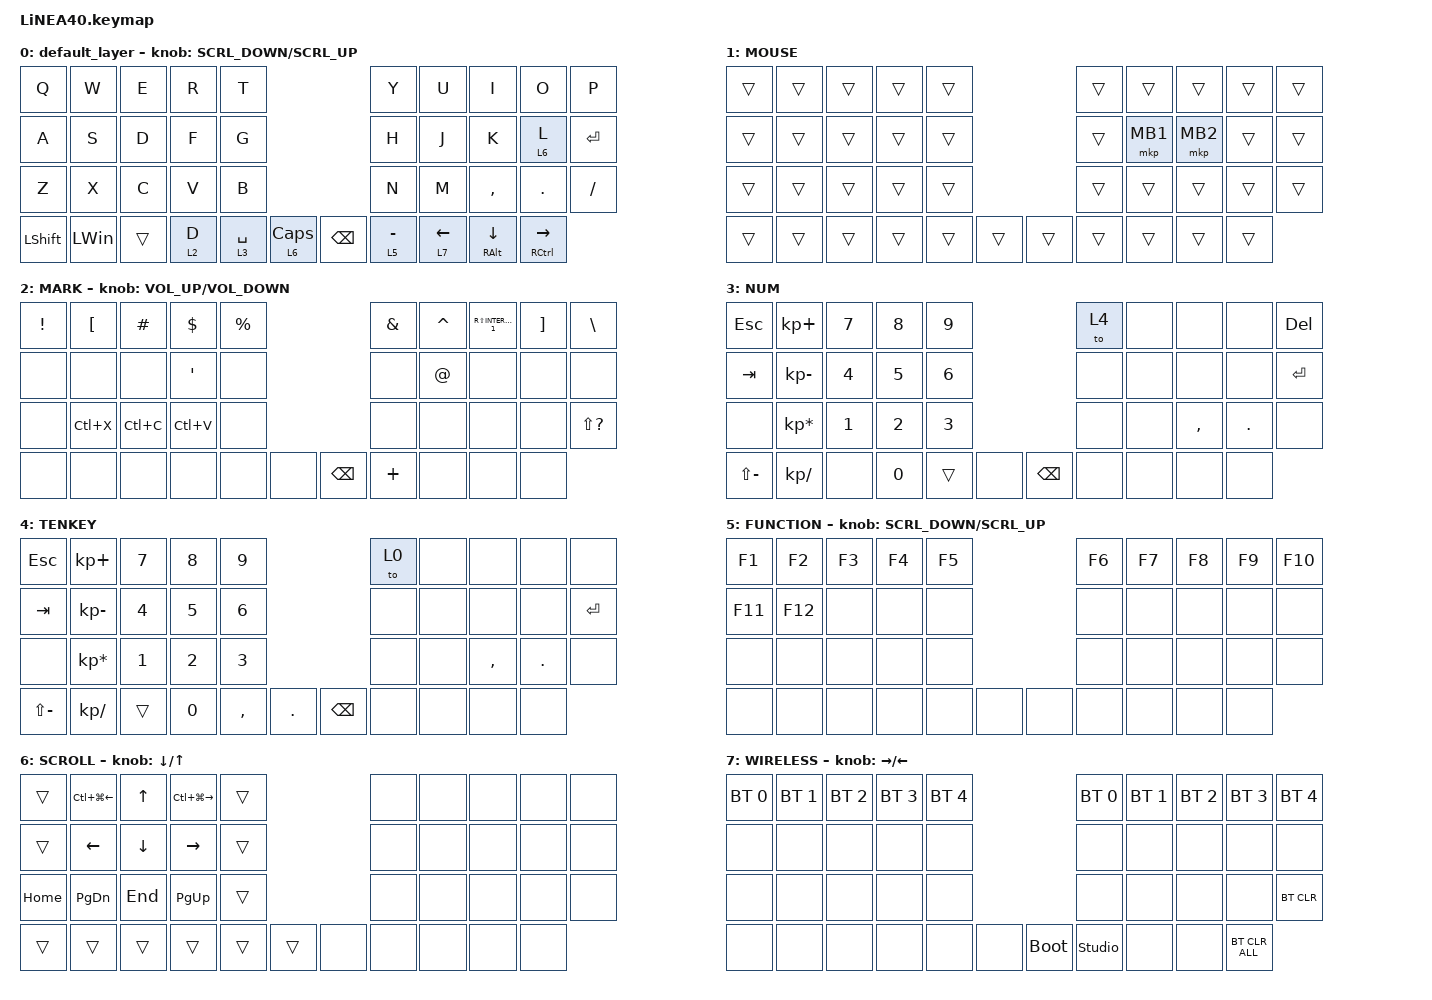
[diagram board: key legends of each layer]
#define ZMK_POINTING_DEFAULT_SCRL_VAL 150

#include <dt-bindings/zmk/input_transform.h>
#include <input/processors.dtsi>
#include <zephyr/dt-bindings/input/input-event-codes.h>
#include <behaviors.dtsi>
#include <dt-bindings/zmk/bt.h>
#include <dt-bindings/zmk/keys.h>
#include <dt-bindings/zmk/pointing.h>

#define MOUSE 1
#define MARK 2
#define CURSOR 3
#define FUNCTION 4
#define SCROLL 5
#define WIRELESS 6

//mouse cursol

&mmv {
    delay-ms = <20>;
    trigger-period-ms = <5>;
    time-to-max-speed-ms = <100>;
    acceleration-exponent = <2>;
};

//mouse scroll

&msc {
    delay-ms = <3>;
    trigger-period-ms = <3>;
    time-to-max-speed-ms = <100>;
    acceleration-exponent = <0>;
};

/ {
    input_processors {
        zip_wheel_scaler: zip_wheel_scaler {
            compatible = "zmk,input-processor-scaler";
            #input-processor-cells = <2>;
            type = <INPUT_EV_REL>;
            codes = <INPUT_REL_WHEEL>;
            track-remainders;
        };
    };
};

&msc_input_listener {
    speed_up {
        layers = <FUNCTION>;
        input-processors = <&zip_wheel_scaler 3 1>; //スクロールを3倍速にする
    };
};

&trackball_listener {
    scroller {
        layers = <SCROLL>;
        input-processors =
            <&zip_xy_transform INPUT_TRANSFORM_Y_INVERT>,
            //スクロール方向を逆転,,,,,,,,
            <&zip_xy_to_scroll_mapper>;
    };
};

/ {
    combos {
        compatible = "zmk,combos";

        ZenkakuHankaku {
            bindings = <&kp GRAVE>;
            key-positions = <11 12>;
        };

        DeleteKey {
            bindings = <&kp DEL>;
            key-positions = <7 8>;
        };

        InsertKey {
            bindings = <&kp INS>;
            key-positions = <6 7>;
        };

        CenterClick {
            bindings = <&mkp MB3>;
            key-positions = <17 16>;
        };

        RightClick {
            bindings = <&mkp MB2>;
            key-positions = <18 17>;
        };

        PrevClick {
            bindings = <&mkp MB4>;
            key-positions = <27 28>;
        };

        ClickNext {
            bindings = <&mkp MB5>;
            key-positions = <26 27>;
        };
    };

    behaviors {
        re_kp: sensor_rotate_kp {
            compatible = "zmk,behavior-sensor-rotate-var";
            #sensor-binding-cells = <2>;
            bindings = <&kp>, <&kp>;
        };

        mouse_scrl: mouse_wheel_scrl {
            compatible = "zmk,behavior-sensor-rotate-var";
            #sensor-binding-cells = <2>;
            bindings = <&msc>, <&msc>;

            tap-ms = <20>;
        };
    };

    keymap {
        compatible = "zmk,keymap";

        default_layer {
            bindings = <
&kp Q           &kp W         &kp E   &kp R    &kp T                                     &kp Y        &kp U  &kp I       &kp O                     &kp P
&kp A           &kp S         &kp D   &kp F    &kp G                                     &kp H        &kp J  &kp K       &lt 6 L                   &kp ENTER
&kp Z           &kp X         &kp C   &kp V    &kp B                                     &kp N        &kp M  &kp COMMA   &kp DOT                   &kp SLASH
&kp LEFT_SHIFT  &kp LEFT_WIN  &trans  &lt 2 D  &lt 3 SPACE  &lt 6 CAPS    &kp BACKSPACE  &lt 5 MINUS         &lt 7 LEFT  &mt RIGHT_ALT DOWN_ARROW  &mt RIGHT_CONTROL RIGHT
            >;

            sensor-bindings = <&mouse_scrl SCRL_DOWN SCRL_UP>;
        };

        MOUSE {
            bindings = <
&trans  &trans  &trans  &trans  &trans                    &trans  &trans    &trans    &trans  &trans
&trans  &trans  &trans  &trans  &trans                    &trans  &mkp MB1  &mkp MB2  &trans  &trans
&trans  &trans  &trans  &trans  &trans                    &trans  &trans    &trans    &trans  &trans
&trans  &trans  &trans  &trans  &trans  &trans    &trans  &trans            &trans    &trans  &trans
            >;
        };

        MARK {
            bindings = <
&kp EXCLAMATION  &kp LBKT   &kp HASH   &kp DOLLAR  &kp PERCENT                          &kp AMPERSAND  &kp CARET    &kp RS(INTERNATIONAL_1)  &kp RIGHT_BRACKET  &kp BACKSLASH
&none            &none      &none      &kp SQT     &none                                &none          &kp AT_SIGN  &none                    &none              &none
&none            &kp LC(X)  &kp LC(C)  &kp LC(V)   &none                                &none          &none        &none                    &none              &kp LS(QUESTION)
&none            &none      &none      &none       &none        &none    &kp BACKSPACE  &kp PLUS                    &none                    &none              &none
            >;

            sensor-bindings = <&re_kp C_VOLUME_UP C_VOLUME_DOWN>;
        };

        NUM {
            bindings = <
&kp ESCAPE     &kp KP_PLUS      &kp NUMBER_7  &kp NUMBER_8  &kp NUMBER_9                          &to 4  &none  &none      &none    &kp DELETE
&kp TAB        &kp KP_MINUS     &kp NUMBER_4  &kp NUMBER_5  &kp NUMBER_6                          &none  &none  &none      &none    &kp ENTER
&none          &kp KP_ASTERISK  &kp NUMBER_1  &kp NUMBER_2  &kp NUMBER_3                          &none  &none  &kp COMMA  &kp DOT  &none
&kp LS(MINUS)  &kp KP_SLASH     &none         &kp NUMBER_0  &trans        &none    &kp BACKSPACE  &none         &none      &none    &none
            >;
        };

        TENKEY {
            bindings = <
&kp ESC        &kp KP_PLUS      &kp N7  &kp N8  &kp N9                               &to 0  &none  &none      &none    &none
&kp TAB        &kp KP_MINUS     &kp N4  &kp N5  &kp N6                               &none  &none  &none      &none    &kp ENTER
&none          &kp KP_MULTIPLY  &kp N1  &kp N2  &kp N3                               &none  &none  &kp COMMA  &kp DOT  &none
&kp LS(MINUS)  &kp KP_SLASH     &trans  &kp N0  &kp COMMA  &kp DOT    &kp BACKSPACE  &none         &none      &none    &none
            >;
        };

        FUNCTION {
            bindings = <
&kp F1   &kp F2   &kp F3  &kp F4  &kp F5                  &kp F6  &kp F7  &kp F8  &kp F9  &kp F10
&kp F11  &kp F12  &none   &none   &none                   &none   &none   &none   &none   &none
&none    &none    &none   &none   &none                   &none   &none   &none   &none   &none
&none    &none    &none   &none   &none   &none    &none  &none           &none   &none   &none
            >;

            sensor-bindings = <&mouse_scrl SCRL_DOWN SCRL_UP>;
        };

        SCROLL {
            bindings = <
&trans    &kp LC(LG(LEFT_ARROW))  &kp UP_ARROW  &kp LC(LG(RIGHT_ARROW))  &trans                   &none  &none  &none  &none  &none
&trans    &kp LEFT_ARROW          &kp DOWN      &kp RIGHT_ARROW          &trans                   &none  &none  &none  &none  &none
&kp HOME  &kp PAGE_DOWN           &kp END       &kp PAGE_UP              &trans                   &none  &none  &none  &none  &none
&trans    &trans                  &trans        &trans                   &trans  &trans    &none  &none         &none  &none  &none
            >;

            sensor-bindings = <&inc_dec_kp DOWN_ARROW UP_ARROW>;
        };

        WIRELESS {
            bindings = <
&bt BT_SEL 0  &bt BT_SEL 1  &bt BT_SEL 2  &bt BT_SEL 3  &bt BT_SEL 4                        &bt BT_SEL 0    &bt BT_SEL 1  &bt BT_SEL 2  &bt BT_SEL 3  &bt BT_SEL 4
&none         &none         &none         &none         &none                               &none           &none         &none         &none         &none
&none         &none         &none         &none         &none                               &none           &none         &none         &none         &bt BT_CLR
&none         &none         &none         &none         &none         &none    &bootloader  &studio_unlock                &none         &none         &bt BT_CLR_ALL
            >;

            sensor-bindings = <&inc_dec_kp RIGHT_ARROW LEFT_ARROW>;
        };
    };
};
